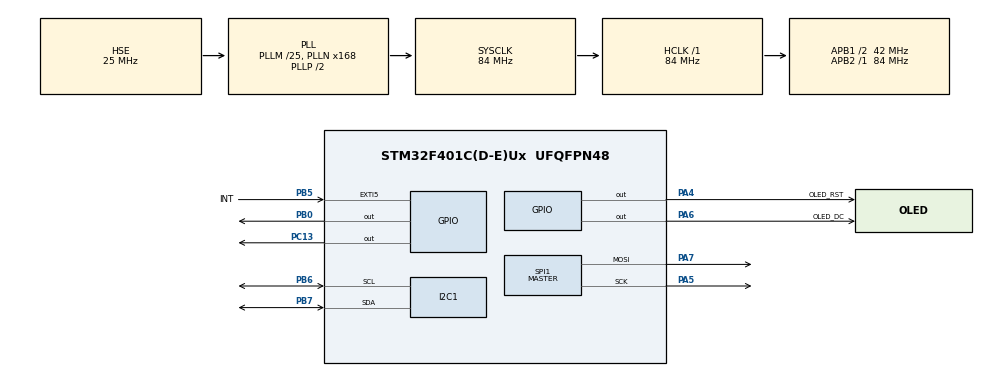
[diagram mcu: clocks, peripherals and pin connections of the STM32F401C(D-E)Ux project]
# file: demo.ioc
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Mcu.Family=STM32F4
Mcu.Name=STM32F401C(D-E)Ux
Mcu.Package=UFQFPN48
NVIC.EXTI9_5_IRQn=true\:0\:0\:false\:false\:true\:true\:true\:true
NVIC.PriorityGroup=NVIC_PRIORITYGROUP_4
PA4.GPIO_Label=OLED_RST
PA4.Signal=GPIO_Output
PA5.Mode=TX_Only_Simplex_Unidirect_Master
PA5.Signal=SPI1_SCK
PA6.GPIO_Label=OLED_DC
PA6.Signal=GPIO_Output
PA7.Mode=TX_Only_Simplex_Unidirect_Master
PA7.Signal=SPI1_MOSI
PB0.Signal=GPIO_Output
PB5.GPIO_Label=INT
PB5.GPIO_ModeDefaultEXTI=GPIO_MODE_IT_RISING
PB5.Signal=GPXTI5
PB6.Mode=I2C
PB6.Signal=I2C1_SCL
PB7.Mode=I2C
PB7.Signal=I2C1_SDA
PC13-ANTI_TAMP.Signal=GPIO_Output
PH0\ -\ OSC_IN.Mode=HSE-External-Oscillator
PH0\ -\ OSC_IN.Signal=RCC_OSC_IN
PH1\ -\ OSC_OUT.Mode=HSE-External-Oscillator
PH1\ -\ OSC_OUT.Signal=RCC_OSC_OUT
ProjectManager.HeapSize=0x200
ProjectManager.StackSize=0x400
ProjectManager.TargetToolchain=CMake
RCC.48MHZClocksFreq_Value=42000000
RCC.AHBFreq_Value=84000000
RCC.APB1CLKDivider=RCC_HCLK_DIV2
RCC.APB1Freq_Value=42000000
RCC.APB1TimFreq_Value=84000000
RCC.APB2Freq_Value=84000000
RCC.APB2TimFreq_Value=84000000
RCC.CortexFreq_Value=84000000
RCC.HCLKFreq_Value=84000000
RCC.HSE_VALUE=25000000
RCC.HSI_VALUE=16000000
RCC.LSE_VALUE=32768
RCC.PLLM=25
RCC.PLLN=168
RCC.PLLSourceVirtual=RCC_PLLSOURCE_HSE
RCC.SYSCLKFreq_VALUE=84000000
RCC.SYSCLKSource=RCC_SYSCLKSOURCE_PLLCLK
RCC.VCOOutputFreq_Value=168000000
SPI1.Direction=SPI_DIRECTION_2LINES
SPI1.FirstBit=SPI_FIRSTBIT_MSB
SPI1.Mode=SPI_MODE_MASTER
SPI1.VirtualType=VM_MASTER
board=custom

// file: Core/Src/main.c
/* USER CODE BEGIN Header */
/**
  ******************************************************************************
  * @file           : main.c
  * @brief          : Main program body
  ******************************************************************************
  * @attention
  *
  * Copyright (c) 2024 STMicroelectronics.
  * All rights reserved.
  *
  * This software is licensed under terms that can be found in the LICENSE file
  * in the root directory of this software component.
  * If no LICENSE file comes with this software, it is provided AS-IS.
  *
  ******************************************************************************
  */
/* USER CODE END Header */
#include "main.h"

/* USER CODE BEGIN Includes */
#include "u8g2.h"
#include "u8g2_com_stm32_hw_spi_hal.h"
#include "mpu6050.h"
#include "stdio.h"
/* USER CODE END Includes */

I2C_HandleTypeDef hi2c1;

SPI_HandleTypeDef hspi1;

void SystemClock_Config(void);
static void MX_GPIO_Init(void);
static void MX_I2C1_Init(void);
static void MX_SPI1_Init(void);

/* USER CODE BEGIN 0 */
mpu6050_t mpu;
u8g2_t u8g2;
char str[50];
int busy;
void HAL_GPIO_PB5_EXIT(){
    if (busy)
        return;
    get_ACCEL(&mpu);
    get_GYRO(&mpu);
    updateAngle(&mpu);

}
/* USER CODE END 0 */

int main(void)
{

  /* MCU Configuration--------------------------------------------------------*/

  /* Reset of all peripherals, Initializes the Flash interface and the Systick. */
  HAL_Init();

  /* Configure the system clock */
  SystemClock_Config();

  /* USER CODE BEGIN SysInit */
  busy=1;
  /* USER CODE END SysInit */

  /* Initialize all configured peripherals */
  MX_GPIO_Init();
  MX_I2C1_Init();
  MX_SPI1_Init();
  /* USER CODE BEGIN 2 */

  u8g2Init(&u8g2);
  mpu6050_Init();
  HAL_Delay(100);
  busy=0;

  /* USER CODE END 2 */

  /* Infinite loop */
  while (1)
  {

    /* USER CODE BEGIN 3 */

      u8g2_SetFont(&u8g2,u8g2_font_10x20_me);
      sprintf(str,"Pitch:%0.1f",mpu.angle_x);
      u8g2_DrawStr(&u8g2,5,20,str );
      sprintf(str,"Yaw:%0.1f",mpu.angle_y);
      u8g2_DrawStr(&u8g2,5,40,str);
      sprintf(str,"Roll:%0.1f",mpu.angle_z);
      u8g2_DrawStr(&u8g2,5,60,str);
      u8g2_SendBuffer(&u8g2);
      HAL_Delay(10);

  }
  /* USER CODE END 3 */
}

void SystemClock_Config(void)
{
  RCC_OscInitTypeDef RCC_OscInitStruct = {0};
  RCC_ClkInitTypeDef RCC_ClkInitStruct = {0};

  /** Configure the main internal regulator output voltage
  */
  __HAL_RCC_PWR_CLK_ENABLE();
  __HAL_PWR_VOLTAGESCALING_CONFIG(PWR_REGULATOR_VOLTAGE_SCALE2);

  /** Initializes the RCC Oscillators according to the specified parameters
  * in the RCC_OscInitTypeDef structure.
  */
  RCC_OscInitStruct.OscillatorType = RCC_OSCILLATORTYPE_HSE;
  RCC_OscInitStruct.HSEState = RCC_HSE_ON;
  RCC_OscInitStruct.PLL.PLLState = RCC_PLL_ON;
  RCC_OscInitStruct.PLL.PLLSource = RCC_PLLSOURCE_HSE;
  RCC_OscInitStruct.PLL.PLLM = 25;
  RCC_OscInitStruct.PLL.PLLN = 168;
  RCC_OscInitStruct.PLL.PLLP = RCC_PLLP_DIV2;
  RCC_OscInitStruct.PLL.PLLQ = 4;
  if (HAL_RCC_OscConfig(&RCC_OscInitStruct) != HAL_OK)
  {
    Error_Handler();
  }

  /** Initializes the CPU, AHB and APB buses clocks
  */
  RCC_ClkInitStruct.ClockType = RCC_CLOCKTYPE_HCLK|RCC_CLOCKTYPE_SYSCLK
                              |RCC_CLOCKTYPE_PCLK1|RCC_CLOCKTYPE_PCLK2;
  RCC_ClkInitStruct.SYSCLKSource = RCC_SYSCLKSOURCE_PLLCLK;
  RCC_ClkInitStruct.AHBCLKDivider = RCC_SYSCLK_DIV1;
  RCC_ClkInitStruct.APB1CLKDivider = RCC_HCLK_DIV2;
  RCC_ClkInitStruct.APB2CLKDivider = RCC_HCLK_DIV1;

  if (HAL_RCC_ClockConfig(&RCC_ClkInitStruct, FLASH_LATENCY_2) != HAL_OK)
  {
    Error_Handler();
  }
}

static void MX_I2C1_Init(void)
{

  hi2c1.Instance = I2C1;
  hi2c1.Init.ClockSpeed = 100000;
  hi2c1.Init.DutyCycle = I2C_DUTYCYCLE_2;
  hi2c1.Init.OwnAddress1 = 0;
  hi2c1.Init.AddressingMode = I2C_ADDRESSINGMODE_7BIT;
  hi2c1.Init.DualAddressMode = I2C_DUALADDRESS_DISABLE;
  hi2c1.Init.OwnAddress2 = 0;
  hi2c1.Init.GeneralCallMode = I2C_GENERALCALL_DISABLE;
  hi2c1.Init.NoStretchMode = I2C_NOSTRETCH_DISABLE;
  if (HAL_I2C_Init(&hi2c1) != HAL_OK)
  {
    Error_Handler();
  }

}

static void MX_SPI1_Init(void)
{

  /* SPI1 parameter configuration*/
  hspi1.Instance = SPI1;
  hspi1.Init.Mode = SPI_MODE_MASTER;
  hspi1.Init.Direction = SPI_DIRECTION_2LINES;
  hspi1.Init.DataSize = SPI_DATASIZE_8BIT;
  hspi1.Init.CLKPolarity = SPI_POLARITY_LOW;
  hspi1.Init.CLKPhase = SPI_PHASE_1EDGE;
  hspi1.Init.NSS = SPI_NSS_SOFT;
  hspi1.Init.BaudRatePrescaler = SPI_BAUDRATEPRESCALER_2;
  hspi1.Init.FirstBit = SPI_FIRSTBIT_MSB;
  hspi1.Init.TIMode = SPI_TIMODE_DISABLE;
  hspi1.Init.CRCCalculation = SPI_CRCCALCULATION_DISABLE;
  hspi1.Init.CRCPolynomial = 10;
  if (HAL_SPI_Init(&hspi1) != HAL_OK)
  {
    Error_Handler();
  }

}

static void MX_GPIO_Init(void)
{
  GPIO_InitTypeDef GPIO_InitStruct = {0};

  /* GPIO Ports Clock Enable */
  __HAL_RCC_GPIOC_CLK_ENABLE();
  __HAL_RCC_GPIOH_CLK_ENABLE();
  __HAL_RCC_GPIOA_CLK_ENABLE();
  __HAL_RCC_GPIOB_CLK_ENABLE();

  /*Configure GPIO pin Output Level */
  HAL_GPIO_WritePin(GPIOC, GPIO_PIN_13, GPIO_PIN_RESET);

  /*Configure GPIO pin Output Level */
  HAL_GPIO_WritePin(GPIOA, OLED_RST_Pin|OLED_DC_Pin, GPIO_PIN_RESET);

  /*Configure GPIO pin Output Level */
  HAL_GPIO_WritePin(GPIOB, GPIO_PIN_0, GPIO_PIN_RESET);

  /*Configure GPIO pin : PC13 */
  GPIO_InitStruct.Pin = GPIO_PIN_13;
  GPIO_InitStruct.Mode = GPIO_MODE_OUTPUT_PP;
  GPIO_InitStruct.Pull = GPIO_NOPULL;
  GPIO_InitStruct.Speed = GPIO_SPEED_FREQ_LOW;
  HAL_GPIO_Init(GPIOC, &GPIO_InitStruct);

  /*Configure GPIO pins : OLED_RST_Pin OLED_DC_Pin */
  GPIO_InitStruct.Pin = OLED_RST_Pin|OLED_DC_Pin;
  GPIO_InitStruct.Mode = GPIO_MODE_OUTPUT_PP;
  GPIO_InitStruct.Pull = GPIO_NOPULL;
  GPIO_InitStruct.Speed = GPIO_SPEED_FREQ_LOW;
  HAL_GPIO_Init(GPIOA, &GPIO_InitStruct);

  /*Configure GPIO pin : PB0 */
  GPIO_InitStruct.Pin = GPIO_PIN_0;
  GPIO_InitStruct.Mode = GPIO_MODE_OUTPUT_PP;
  GPIO_InitStruct.Pull = GPIO_NOPULL;
  GPIO_InitStruct.Speed = GPIO_SPEED_FREQ_LOW;
  HAL_GPIO_Init(GPIOB, &GPIO_InitStruct);

  /*Configure GPIO pin : INT_Pin */
  GPIO_InitStruct.Pin = INT_Pin;
  GPIO_InitStruct.Mode = GPIO_MODE_IT_RISING;
  GPIO_InitStruct.Pull = GPIO_NOPULL;
  HAL_GPIO_Init(INT_GPIO_Port, &GPIO_InitStruct);

  /* EXTI interrupt init*/
  HAL_NVIC_SetPriority(EXTI9_5_IRQn, 0, 0);
  HAL_NVIC_EnableIRQ(EXTI9_5_IRQn);

}

void Error_Handler(void)
{
  __disable_irq();
  while (1)
  {
  }
}
